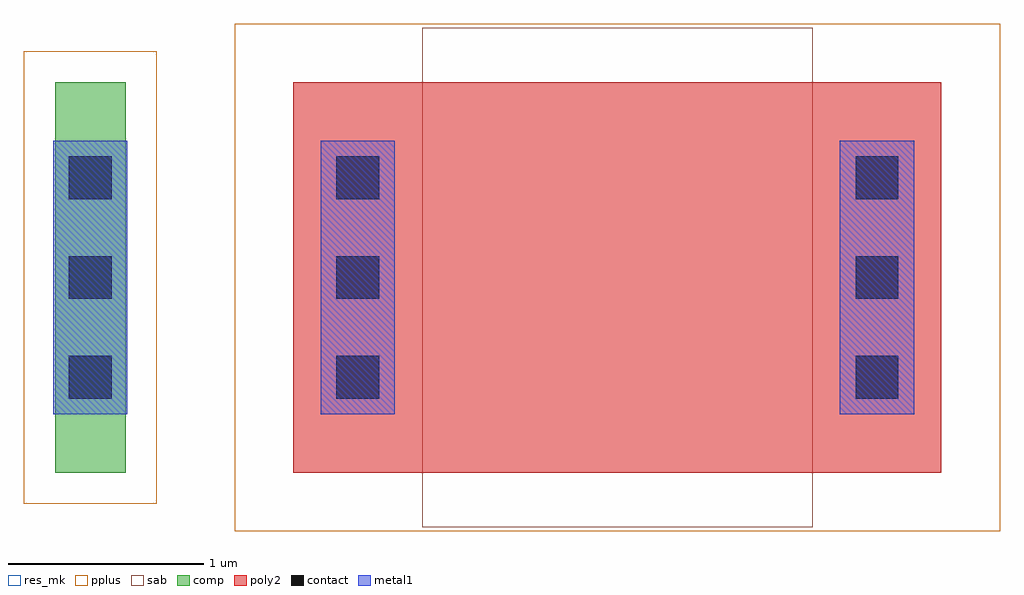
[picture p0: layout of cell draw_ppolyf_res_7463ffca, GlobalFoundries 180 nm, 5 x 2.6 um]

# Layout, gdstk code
import gdstk
lib = gdstk.Library(unit=1e-6, precision=1e-09)
def R(c, l, rs):  # rectangles x0, y0, x1, y1
    for r in rs: c.add(gdstk.rectangle(r[:2], r[2:], *l))
def A(c, l, x, y, w, h, nx, ny, dx, dy):  # array of equal rectangles
    R(c, l, [(x+i*dx, y+j*dy, x+i*dx+w, y+j*dy+h) for i in range(nx) for j in range(ny)])
comp = (22, 0)
poly2 = (30, 0)
pplus = (31, 0)
contact = (33, 0)
metal1 = (34, 0)
sab = (49, 0)
res_mk = (110, 5)

draw_ppolyf_res_7463ffca = lib.new_cell('draw_ppolyf_res_7463ffca')
R(draw_ppolyf_res_7463ffca, comp, [(-1.88,0,-1.52,2)])
R(draw_ppolyf_res_7463ffca, poly2, [(-0.66,0,2.66,2)])
R(draw_ppolyf_res_7463ffca, pplus, [(-0.96,-0.3,2.96,2.3), (-2.04,-0.16,-1.36,2.16)])
A(draw_ppolyf_res_7463ffca, contact, -1.81, 0.38, 0.22, 0.22, 1, 3, 0, 0.51)
A(draw_ppolyf_res_7463ffca, contact, -0.44, 0.38, 0.22, 0.22, 1, 3, 0, 0.51)
A(draw_ppolyf_res_7463ffca, contact, 2.22, 0.38, 0.22, 0.22, 1, 3, 0, 0.51)
R(draw_ppolyf_res_7463ffca, metal1, [(-1.89,0.3,-1.51,1.7), (-0.52,0.3,-0.14,1.7), (2.14,0.3,2.52,1.7)])
R(draw_ppolyf_res_7463ffca, sab, [(0,-0.28,2,2.28)])
R(draw_ppolyf_res_7463ffca, res_mk, [(0,0,2,2)])

lib.write_gds('draw_ppolyf_res_7463ffca.gds')
